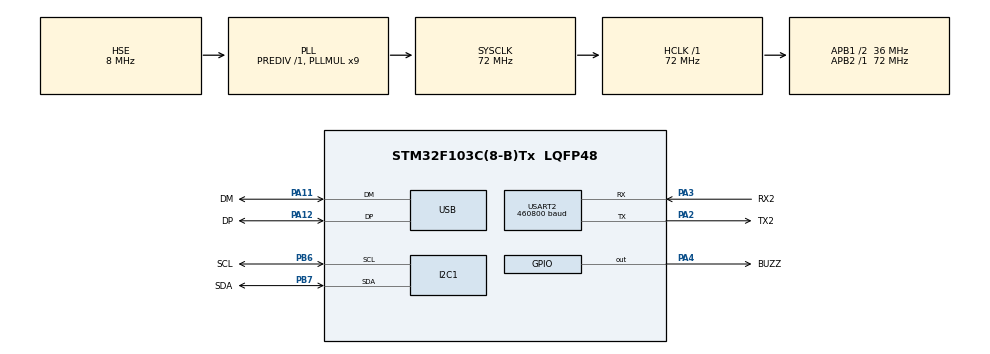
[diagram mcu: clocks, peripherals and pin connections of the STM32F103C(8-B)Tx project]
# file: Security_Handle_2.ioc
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I2C1.I2C_Mode=I2C_Fast
Mcu.Family=STM32F1
Mcu.Name=STM32F103C(8-B)Tx
Mcu.Package=LQFP48
NVIC.PriorityGroup=NVIC_PRIORITYGROUP_4
NVIC.USART2_IRQn=true\:0\:0\:false\:false\:true\:true\:true\:true
NVIC.USB_HP_CAN1_TX_IRQn=true\:0\:0\:false\:false\:true\:true\:true\:true
NVIC.USB_LP_CAN1_RX0_IRQn=true\:0\:0\:false\:false\:true\:true\:true\:true
PA11.GPIO_Label=DM
PA11.Mode=Device
PA11.Signal=USB_DM
PA12.GPIO_Label=DP
PA12.Mode=Device
PA12.Signal=USB_DP
PA13.Mode=Serial_Wire
PA13.Signal=SYS_JTMS-SWDIO
PA14.Mode=Serial_Wire
PA14.Signal=SYS_JTCK-SWCLK
PA2.GPIO_Label=TX2
PA2.Mode=Asynchronous
PA2.Signal=USART2_TX
PA3.GPIO_Label=RX2
PA3.Mode=Asynchronous
PA3.Signal=USART2_RX
PA4.GPIO_Label=BUZZ
PA4.Signal=GPIO_Output
PB6.GPIO_Label=SCL
PB6.Mode=I2C
PB6.Signal=I2C1_SCL
PB7.GPIO_Label=SDA
PB7.Mode=I2C
PB7.Signal=I2C1_SDA
PD0-OSC_IN.Mode=HSE-External-Oscillator
PD0-OSC_IN.Signal=RCC_OSC_IN
PD1-OSC_OUT.Mode=HSE-External-Oscillator
PD1-OSC_OUT.Signal=RCC_OSC_OUT
ProjectManager.HeapSize=0x200
ProjectManager.StackSize=0x400
ProjectManager.TargetToolchain=STM32CubeIDE
RCC.AHBFreq_Value=72000000
RCC.APB1CLKDivider=RCC_HCLK_DIV2
RCC.APB1Freq_Value=36000000
RCC.APB1TimFreq_Value=72000000
RCC.APB2Freq_Value=72000000
RCC.APB2TimFreq_Value=72000000
RCC.HCLKFreq_Value=72000000
RCC.PLLMUL=RCC_PLL_MUL9
RCC.PLLSourceVirtual=RCC_PLLSOURCE_HSE
RCC.SYSCLKFreq_VALUE=72000000
RCC.SYSCLKSource=RCC_SYSCLKSOURCE_PLLCLK
RCC.USBFreq_Value=48000000
RCC.USBPrescaler=RCC_USBCLKSOURCE_PLL_DIV1_5
USART2.BaudRate=460800
USART2.VirtualMode=VM_ASYNC
USB_DEVICE.CLASS_NAME_FS=CDC
USB_DEVICE.PRODUCT_STRING_CDC_FS=STM32 Virtual Port
USB_DEVICE.VirtualMode=Cdc
USB_DEVICE.VirtualModeFS=Cdc_FS
VP_USB_DEVICE_VS_USB_DEVICE_CDC_FS.Mode=CDC_FS
board=custom

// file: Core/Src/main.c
/* USER CODE BEGIN Header */
/**
  ******************************************************************************
  * @file           : main.c
  * @brief          : Main program body
  ******************************************************************************
  * @attention
  *
  * Copyright (c) 2026 STMicroelectronics.
  * All rights reserved.
  *
  * This software is licensed under terms that can be found in the LICENSE file
  * in the root directory of this software component.
  * If no LICENSE file comes with this software, it is provided AS-IS.
  *
  ******************************************************************************
  */
/* USER CODE END Header */
#include "main.h"
#include "i2c.h"
#include "usart.h"
#include "usb_device.h"
#include "gpio.h"

/* USER CODE BEGIN Includes */
#include "fonts.h"
#include "SH1106.h"
#include "usbd_cdc_if.h"
#include "string.h"
/* SH1106 width in pixels */
#ifndef SH1106_WIDTH
#define SH1106_WIDTH            128
#endif
/* SH1106 LCD height in pixels */
#ifndef SH1106_HEIGHT
#define SH1106_HEIGHT           64
#endif
/* USER CODE END Includes */

/* USER CODE BEGIN PM */
#define BUZZ_ON()   HAL_GPIO_WritePin(BUZZ_GPIO_Port, BUZZ_Pin, GPIO_PIN_SET)
#define BUZZ_OFF()  HAL_GPIO_WritePin(BUZZ_GPIO_Port, BUZZ_Pin, GPIO_PIN_RESET)
/* USER CODE END PM */

/* USER CODE BEGIN PV */
#define RFID_BUF_SIZE  512
#define EPC_MAX_CHARS 128   // đủ cho EPC 64 byte hex
#define RFID_FRAME_TIMEOUT_MS 10

uint8_t rfid_rx;

uint8_t rfid_buf[RFID_BUF_SIZE];
volatile uint16_t rfid_len = 0;
volatile uint32_t rfid_last_rx_tick = 0;

const uint8_t rfid_start_cmd[] = {
    0x5A, 0x00, 0x01, 0x02, 0x10, 0x00, 0x05,
    0x00, 0x00, 0x00, 0x01, 0x01, 0xF4, 0x87
};

char last_epc[EPC_MAX_CHARS + 1] = "EMPTY";
uint32_t last_epc_tick = 0;

uint32_t buzz_next_tick = 0;
#define EMPTY_UART_TIMEOUT_MS 5000   // 500ms không có UART -> EMPTY
#define READER_ACTIVE_TIMEOUT_MS 100   // 100ms không có byte UART -> coi là reader ngừng

#define BUZZ_BEEP_MS  80      // thời gian bíp (ms)
uint32_t buzz_off_tick = 0;   // thời điểm tắt còi

#define MAX_EPC_COUNT 16

typedef struct
{
    char epc[EPC_MAX_CHARS + 1];
    uint32_t last_seen_tick;
} EPC_Item;

EPC_Item epc_list[MAX_EPC_COUNT];
uint8_t epc_count = 0;

#define EPC_ALIVE_TIMEOUT_MS 3000   // 1.5s không thấy EPC → xóa

uint32_t oled_next_update_tick = 0;
#define OLED_UPDATE_PERIOD_MS 1000   // 1 giây vẽ 1 lần
uint8_t epc_display_index = 0;   // vị trí EPC bắt đầu hiển thị (cuốn chiếu)

/* USER CODE END PV */

void SystemClock_Config(void);

/* USER CODE BEGIN 0 */
//static void OLED_Show_TX_Data_Hex(const uint8_t *data, uint16_t len)
//{
//    static const char hex[] = "0123456789ABCDEF";
//    char line[22];   // vừa 1 dòng OLED với Font_7x10
//
//    SH1106_Clear();
//
//    SH1106_GotoXY(0, 0);
//    SH1106_Puts("TX to Reader:", &Font_7x10, 1);
//
//    uint8_t y = 12;
//    uint16_t idx = 0;
//
//    while (idx < len && y <= 54)
//    {
//        uint8_t pos = 0;
//
//        while (idx < len && pos < 21)
//        {
//            uint8_t b = data[idx++];
//
//            line[pos++] = hex[(b >> 4) & 0x0F];
//            line[pos++] = hex[b & 0x0F];
//
//            if (pos < 21)
//                line[pos++] = ' ';
//        }
//
//        line[pos] = '\0';
//
//        SH1106_GotoXY(0, y);
//        SH1106_Puts(line, &Font_7x10, 1);
//
//        y += 12;
//    }
//
//    SH1106_UpdateScreen();
//}

// Chuyển mảng byte sang chuỗi HEX ASCII
static void bytes_to_hex(const uint8_t *in, uint8_t len, char *out)
{
    const char hex[] = "0123456789ABCDEF";
    for (uint8_t i = 0; i < len; i++)
    {
        out[i * 2]     = hex[(in[i] >> 4) & 0x0F];
        out[i * 2 + 1] = hex[in[i] & 0x0F];
    }
    out[len * 2] = '\0';
}

static void OLED_Show_EPC_If_New(const char *epc)
{
    if (epc == NULL || epc[0] == '\0')
        return;

    // EPC giống EPC cũ → không redraw
    if (strcmp(epc, last_epc) == 0)
        {
    	last_epc_tick = HAL_GetTick();
    	return;
        }

    // Lưu EPC mới
    strncpy(last_epc, epc, EPC_MAX_CHARS);
    last_epc[EPC_MAX_CHARS] = '\0';
    last_epc_tick = HAL_GetTick();
    BUZZ_ON();                               // bật còi
    buzz_off_tick = HAL_GetTick() + BUZZ_BEEP_MS;

    // ===== VẼ OLED =====
    SH1106_Clear();

    char header[16];
    sprintf(header, "EPC: %d", epc_count);

    SH1106_GotoXY(0, 0);
    SH1106_Puts(header, &Font_7x10, 1);

    uint8_t y = 12;
    const uint8_t chars_per_line = 18;

    while (*epc && y <= 54)
    {
        char buf[19];
        uint8_t i = 0;

        while (*epc && i < chars_per_line)
            buf[i++] = *epc++;

        buf[i] = '\0';

        SH1106_GotoXY(0, y);
        SH1106_Puts(buf, &Font_7x10, 1);

        y += 12;
    }

    SH1106_UpdateScreen();
}

static void OLED_Show_Empty_If_Needed(void)
{
    // Nếu đang empty rồi → không redraw
    if (strcmp(last_epc, "EMPTY") == 0)
        return;

    strcpy(last_epc, "EMPTY");
    BUZZ_OFF();  // Không có tag → tắt còi

    SH1106_Clear();

    SH1106_GotoXY(0, 0);
    SH1106_Puts("EPC:", &Font_7x10, 1);

    SH1106_GotoXY(0, 12);
    SH1106_Puts("empty", &Font_7x10, 1);

    SH1106_UpdateScreen();
}

static void EPC_Add_If_New(const char *epc)
{
    uint32_t now = HAL_GetTick();

    if (epc == NULL || epc[0] == '\0')
        return;

    for (uint8_t i = 0; i < epc_count; i++)
    {
        if (strcmp(epc_list[i].epc, epc) == 0)
        {
            epc_list[i].last_seen_tick = now;
            return;
        }
    }

    if (epc_count < MAX_EPC_COUNT)
    {
        strcpy(epc_list[epc_count].epc, epc);
        epc_list[epc_count].last_seen_tick = now;
        epc_count++;
    }
}

static uint8_t EPC_Line_Count(const char *epc)
{
    uint16_t len = strlen(epc);
    const uint8_t chars_per_line = 18;

    if (len == 0)
        return 0;

    return (len + chars_per_line - 1) / chars_per_line;
}

static void OLED_Show_EPC_List_Page(void)
{
    SH1106_Clear();

    // ===== DÒNG TIÊU ĐỀ =====
    char header[16];
    sprintf(header, "EPC: %d", epc_count);

    SH1106_GotoXY(0, 0);
    SH1106_Puts(header, &Font_7x10, 1);

    uint8_t y = 12;                    // bắt đầu in EPC từ dòng 2
    uint8_t remaining_lines = 4;       // tối đa 4 dòng EPC
    const uint8_t chars_per_line = 17; // chừa 1 ký tự cho '-'

    uint8_t idx = epc_display_index;  // bắt đầu từ EPC đang nhớ
    uint8_t shown = 0;                // đếm số EPC đã in

    while (shown < epc_count && remaining_lines > 0)
    {
        const char *epc = epc_list[idx].epc;

        uint8_t first_line = 1;

        while (*epc && remaining_lines > 0)
        {
            char buf[19];
            uint8_t i = 0;

            if (first_line)
            {
                buf[i++] = '-';
                buf[i++] = ' ';

                while (*epc && i < 18)
                    buf[i++] = *epc++;

                first_line = 0;
            }
            else
            {
                while (*epc && i < 18)
                    buf[i++] = *epc++;
            }

            buf[i] = '\0';

            SH1106_GotoXY(0, y);
            SH1106_Puts(buf, &Font_7x10, 1);

            y += 12;
            remaining_lines--;
        }
        /* ===== CHUYỂN SANG EPC TIẾP THEO ===== */
        idx++;
        if (idx >= epc_count)
            idx = 0;

        shown++;
    }
    // Dịch vị trí hiển thị cho lần sau (cuốn chiếu)
    epc_display_index++;
    if (epc_display_index >= epc_count)
        epc_display_index = 0;

    SH1106_UpdateScreen();
}

static void EPC_Remove_Expired(void)
{
    uint32_t now = HAL_GetTick();

    for (uint8_t i = 0; i < epc_count; )
    {
        if ((now - epc_list[i].last_seen_tick) > EPC_ALIVE_TIMEOUT_MS)
        {
            // dồn mảng
            for (uint8_t j = i; j < epc_count - 1; j++)
                epc_list[j] = epc_list[j + 1];

            epc_count--;
        }
        else
        {
            i++;
        }
    }
}

/* USER CODE END 0 */

int main(void)
{

  /* MCU Configuration--------------------------------------------------------*/

  /* Reset of all peripherals, Initializes the Flash interface and the Systick. */
  HAL_Init();

  /* Configure the system clock */
  SystemClock_Config();

  /* Initialize all configured peripherals */
  MX_GPIO_Init();
  MX_I2C1_Init();
  MX_USART2_UART_Init();
  MX_USB_DEVICE_Init();
  /* USER CODE BEGIN 2 */
  HAL_UART_Receive_IT(&huart2, &rfid_rx, 1);   // Reader
  // ===== AUTO START RFID READER =====
  HAL_Delay(100);  // đợi reader ổn định sau reset
  HAL_UART_Transmit(&huart2,
                    (uint8_t *)rfid_start_cmd,
                    sizeof(rfid_start_cmd),
                    100);
  SH1106_Init();
  SH1106_Clear();
  SH1106_UpdateScreen();
  OLED_Show_Empty_If_Needed();
  BUZZ_OFF();   // đảm bảo lúc bật nguồn còi tắt
  /* USER CODE END 2 */

  /* Infinite loop */
  /* USER CODE BEGIN WHILE */
  while (1)
  {
	    // ===== RFID -> EPC -> PC =====
	    if (rfid_len > 9 && (HAL_GetTick() - rfid_last_rx_tick) > RFID_FRAME_TIMEOUT_MS)
	    {
	        /*
	          Layout theo bạn mô tả:
	          Byte 0..6  : header (bỏ)
	          Byte 7..8  : EPC length (00 XX)
	          Byte 9..   : EPC data
	        */

	    	// ===== 1. PARSE + OLED =====
	    	uint8_t epc_len = rfid_buf[8];

	    	if (epc_len > 0 && (9 + epc_len) <= rfid_len)
	    	{
	    	    uint8_t *epc_ptr = &rfid_buf[9];
	    	    char epc_str[EPC_MAX_CHARS + 1];
	    	    bytes_to_hex(epc_ptr, epc_len, epc_str);
	    	    //OLED_Show_EPC_If_New(epc_str);
	    	    EPC_Add_If_New(epc_str);
	    	}

	    	// ===== 2. GỬI RAW READER -> PC =====
	    	uint32_t t0 = HAL_GetTick();
	    	while (CDC_Transmit_FS(rfid_buf, rfid_len) == USBD_BUSY)
	    	{
	    	    if (HAL_GetTick() - t0 > 20) break;  // timeout 20ms
	    	}
	    	// ===== 2. GỬI RAW READER -> PC (CÓ TIMEOUT, CHỐNG TREO) =====
	    	if (rfid_len > 0)
	    	{
	    	    uint32_t t0 = HAL_GetTick();
	    	    while (CDC_Transmit_FS(rfid_buf, rfid_len) == USBD_BUSY)
	    	    {
	    	        if (HAL_GetTick() - t0 > 20)   // timeout 20ms
	    	            break;
	    	    }
	    	}

	    	// ===== 3. RESET SAU CÙNG =====
	    	rfid_len = 0;

	    }
	    // Nếu quá lâu không có EPC mới → hiển thị empty

	    // ===== CÒI PHỤ THUỘC DATA UART =====
	    uint8_t reader_active = 0;

	    if (HAL_GetTick() - rfid_last_rx_tick < READER_ACTIVE_TIMEOUT_MS)
	    {
	        reader_active = 1;   // Reader còn gửi dữ liệu
	    }
	    else
	    {
	        reader_active = 0;   // Reader đã ngừng
	    }
	    // ===== EMPTY DỰA THEO UART =====
	    if ((HAL_GetTick() - rfid_last_rx_tick) > EMPTY_UART_TIMEOUT_MS)
	    {
	        OLED_Show_Empty_If_Needed();
	        epc_count = 0;    // reset số lượng EPC
	    }
	    else
	    {
	        EPC_Remove_Expired();
	        // ===== HIỂN THỊ DANH SÁCH EPC =====
	        if (HAL_GetTick() >= oled_next_update_tick)
	        {
	            OLED_Show_EPC_List_Page();
	            oled_next_update_tick = HAL_GetTick() + OLED_UPDATE_PERIOD_MS;
	        }
	    }

	    if (reader_active)
	    {
	        if (HAL_GetTick() >= buzz_next_tick)
	        {
	            BUZZ_ON();
	            buzz_off_tick  = HAL_GetTick() + BUZZ_BEEP_MS;
	            buzz_next_tick = HAL_GetTick() + 100; // tốc độ bíp
	        }
	    }
	    else
	    {
	        BUZZ_OFF();          // <<< TẮT NGAY
	        buzz_off_tick = 0;
	    }

	    // tắt còi sau mỗi bíp
	    if (buzz_off_tick != 0 && HAL_GetTick() >= buzz_off_tick)
	    {
	        BUZZ_OFF();
	        buzz_off_tick = 0;
	    }
	    ////////////////////// USART Bridge///////////////////
	    if (cdc_cmd_ready)
	    {
	        cdc_cmd_ready = 0;

	        // 1. GỬI DATA PC → READER
	        HAL_UART_Transmit(&huart2,
	                          cdc_rx_buf,
	                          cdc_rx_len,
	                          100);

	    }

    /* USER CODE END WHILE */

    /* USER CODE BEGIN 3 */
    /* USER CODE END WHILE */

    /* USER CODE BEGIN 3 */
  }
  /* USER CODE END 3 */
}

void SystemClock_Config(void)
{
  RCC_OscInitTypeDef RCC_OscInitStruct = {0};
  RCC_ClkInitTypeDef RCC_ClkInitStruct = {0};
  RCC_PeriphCLKInitTypeDef PeriphClkInit = {0};

  /** Initializes the RCC Oscillators according to the specified parameters
  * in the RCC_OscInitTypeDef structure.
  */
  RCC_OscInitStruct.OscillatorType = RCC_OSCILLATORTYPE_HSE;
  RCC_OscInitStruct.HSEState = RCC_HSE_ON;
  RCC_OscInitStruct.HSEPredivValue = RCC_HSE_PREDIV_DIV1;
  RCC_OscInitStruct.HSIState = RCC_HSI_ON;
  RCC_OscInitStruct.PLL.PLLState = RCC_PLL_ON;
  RCC_OscInitStruct.PLL.PLLSource = RCC_PLLSOURCE_HSE;
  RCC_OscInitStruct.PLL.PLLMUL = RCC_PLL_MUL9;
  if (HAL_RCC_OscConfig(&RCC_OscInitStruct) != HAL_OK)
  {
    Error_Handler();
  }

  /** Initializes the CPU, AHB and APB buses clocks
  */
  RCC_ClkInitStruct.ClockType = RCC_CLOCKTYPE_HCLK|RCC_CLOCKTYPE_SYSCLK
                              |RCC_CLOCKTYPE_PCLK1|RCC_CLOCKTYPE_PCLK2;
  RCC_ClkInitStruct.SYSCLKSource = RCC_SYSCLKSOURCE_PLLCLK;
  RCC_ClkInitStruct.AHBCLKDivider = RCC_SYSCLK_DIV1;
  RCC_ClkInitStruct.APB1CLKDivider = RCC_HCLK_DIV2;
  RCC_ClkInitStruct.APB2CLKDivider = RCC_HCLK_DIV1;

  if (HAL_RCC_ClockConfig(&RCC_ClkInitStruct, FLASH_LATENCY_2) != HAL_OK)
  {
    Error_Handler();
  }
  PeriphClkInit.PeriphClockSelection = RCC_PERIPHCLK_USB;
  PeriphClkInit.UsbClockSelection = RCC_USBCLKSOURCE_PLL_DIV1_5;
  if (HAL_RCCEx_PeriphCLKConfig(&PeriphClkInit) != HAL_OK)
  {
    Error_Handler();
  }
}

/* USER CODE BEGIN 4 */
void HAL_UART_RxCpltCallback(UART_HandleTypeDef *huart)
{
    uint32_t now = HAL_GetTick();

    // ===== RFID -> STM32 =====
    if (huart->Instance == USART2)
    {
        if (rfid_len < RFID_BUF_SIZE)
        {
            rfid_buf[rfid_len++] = rfid_rx;
        }
        rfid_last_rx_tick = now;

        HAL_UART_Receive_IT(&huart2, &rfid_rx, 1);
    }
}
/* USER CODE END 4 */

void Error_Handler(void)
{
  __disable_irq();
  while (1)
  {
  }
}
